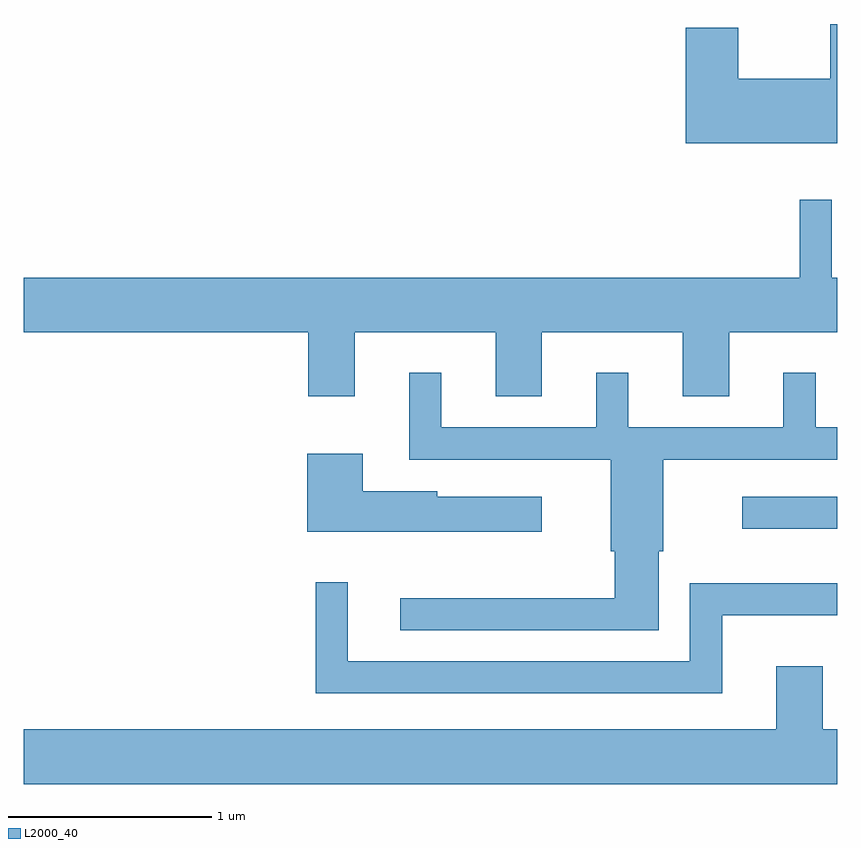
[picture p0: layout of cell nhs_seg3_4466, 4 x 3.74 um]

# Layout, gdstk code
import gdstk
lib = gdstk.Library(unit=1e-6, precision=1e-09)
def R(c, l, rs):  # rectangles x0, y0, x1, y1
    for r in rs: c.add(gdstk.rectangle(r[:2], r[2:], *l))
def P(c, l, *ps):  # polygons
    for p in ps: c.add(gdstk.Polygon(p, *l))
L2000_40 = (2000, 40)

nhs_seg3_4466 = lib.new_cell('nhs_seg3_4466')
R(nhs_seg3_4466, L2000_40, [(319.143,1209.411,319.611,1209.569)])
P(nhs_seg3_4466, L2000_40, [(319.611,1211.892),(319.576,1211.892),(319.576,1211.624),(319.124,1211.624),(319.124,1211.874),(318.866,1211.874),(318.866,1211.306),(319.611,1211.306)],
  [(317.239,1210.376),(317.931,1210.376),(317.931,1210.061),(318.159,1210.061),(318.159,1210.376),(318.851,1210.376),(318.851,1210.061),(319.079,1210.061),(319.079,1210.376),(319.611,1210.376),(319.611,1210.644),(319.584,1210.644),(319.584,1211.028),(319.426,1211.028),(319.426,1210.644),(315.611,1210.644),(315.611,1210.376),(317.011,1210.376),(317.011,1210.061),(317.239,1210.061)],
  [(318.734,1209.301),(318.754,1209.301),(318.754,1209.751),(319.611,1209.751),(319.611,1209.909),(319.504,1209.909),(319.504,1210.178),(319.346,1210.178),(319.346,1209.909),(318.584,1209.909),(318.584,1210.178),(318.426,1210.178),(318.426,1209.909),(317.664,1209.909),(317.664,1210.178),(317.506,1210.178),(317.506,1209.751),(318.496,1209.751),(318.496,1209.301),(318.516,1209.301),(318.516,1209.069),(317.463,1209.069),(317.463,1208.911),(318.734,1208.911)],
  [(318.159,1209.569),(317.644,1209.569),(317.644,1209.594),(317.279,1209.594),(317.279,1209.779),(317.006,1209.779),(317.006,1209.396),(318.159,1209.396)],
  [(319.044,1208.986),(319.611,1208.986),(319.611,1209.144),(318.886,1209.144),(318.886,1208.759),(317.204,1208.759),(317.204,1209.148),(317.046,1209.148),(317.046,1208.601),(319.044,1208.601)],
  [(319.611,1208.424),(319.539,1208.424),(319.539,1208.734),(319.311,1208.734),(319.311,1208.424),(315.611,1208.424),(315.611,1208.156),(319.611,1208.156)])

lib.write_gds('nhs_seg3_4466.gds')
